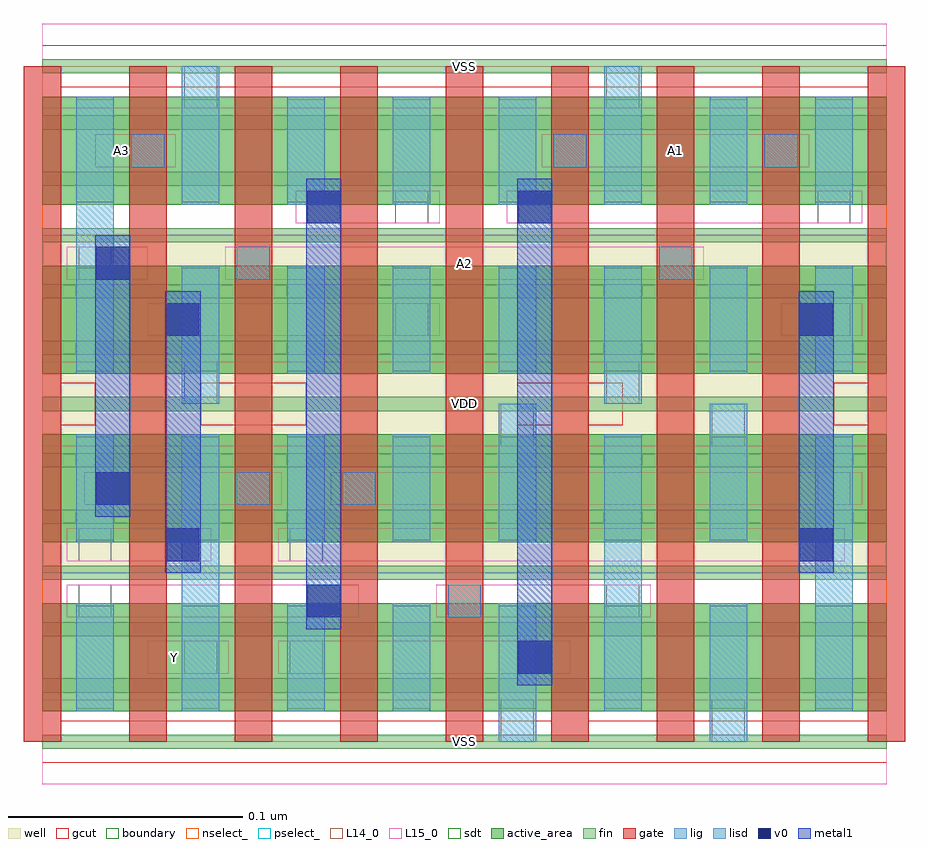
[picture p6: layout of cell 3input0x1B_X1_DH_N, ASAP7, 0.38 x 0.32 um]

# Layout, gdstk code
import gdstk
lib = gdstk.Library(unit=1e-6, precision=2.5e-10)
def R(c, l, rs):  # rectangles x0, y0, x1, y1
    for r in rs: c.add(gdstk.rectangle(r[:2], r[2:], *l))
def A(c, l, x, y, w, h, nx, ny, dx, dy):  # array of equal rectangles
    R(c, l, [(x+i*dx, y+j*dy, x+i*dx+w, y+j*dy+h) for i in range(nx) for j in range(ny)])
def P(c, l, *ps):  # polygons
    for p in ps: c.add(gdstk.Polygon(p, *l))
well = (1, 0)
fin = (2, 0)
gate = (7, 0)
gcut = (10, 0)
active_area = (11, 0)
nselect_ = (12, 0)
pselect_ = (13, 0)
L14_0 = (14, 0)
L15_0 = (15, 0)
lig = (16, 0)
lisd = (17, 0)
v0 = (18, 0)
metal1 = (19, 0)
sdt = (88, 0)
boundary = (100, 0)

c_3input0x1b_x1_dh_n = lib.new_cell('3input0x1B_X1_DH_N')
R(c_3input0x1b_x1_dh_n, well, [(0,0.072,0.36,0.144), (0,0.144,0.36,0.216)])
A(c_3input0x1b_x1_dh_n, fin, 0, -0.003, 0.36, 0.006, 1, 13, 0, 0.024)
A(c_3input0x1b_x1_dh_n, gate, -0.008, 0, 0.016, 0.288, 9, 1, 0.045, 0)
R(c_3input0x1b_x1_dh_n, gcut, [(0.0675,0.135,0.1125,0.153)])
P(c_3input0x1b_x1_dh_n, gcut, [(0,-0.009),(0,0),(-0.008,0),(-0.008,0.279),(0.008,0.279),(0.008,0.153),(0.0225,0.153),(0.0225,0.135),(0.008,0.135),(0.008,0.009),(0.217,0.009),(0.217,0.135),(0.2025,0.135),(0.2025,0.153),(0.2475,0.153),(0.2475,0.135),(0.233,0.135),(0.233,0.009),(0.352,0.009),(0.352,0.135),(0.3375,0.135),(0.3375,0.153),(0.352,0.153),(0.352,0.279),(-0.008,0.279),(-0.008,0.288),(0,0.288),(0,0.297),(0.36,0.297),(0.36,0.288),(0.368,0.288),(0.368,0),(0.36,0),(0.36,-0.009)])
A(c_3input0x1b_x1_dh_n, active_area, 0, 0.013, 0.36, 0.046, 1, 4, 0, 0.072)
R(c_3input0x1b_x1_dh_n, nselect_, [(0,0,0.36,0.072), (0,0.216,0.36,0.288)])
R(c_3input0x1b_x1_dh_n, pselect_, [(0,0.072,0.36,0.144), (0,0.144,0.36,0.216)])
R(c_3input0x1b_x1_dh_n, L14_0, [(0.1955,0,0.2095,0.018), (0.2855,0,0.2995,0.018), (0.0605,0.029,0.0745,0.043), (0.1055,0.029,0.1195,0.043), (0.0155,0.053,0.0295,0.067), (0.173,0.053,0.187,0.067), (0.2405,0.053,0.2545,0.067), (0.0155,0.077,0.0295,0.091), (0.1055,0.077,0.1195,0.091), (0.083,0.101,0.097,0.115), (0.128,0.101,0.142,0.115), (0.3305,0.101,0.3445,0.115), (0.1955,0.126,0.2095,0.144), (0.2855,0.126,0.2995,0.144), (0.0605,0.144,0.0745,0.162), (0.2405,0.144,0.2545,0.162), (0.1505,0.173,0.1645,0.187), (0.3305,0.173,0.3445,0.187), (0.0155,0.197,0.0295,0.211), (0.083,0.197,0.097,0.211), (0.263,0.197,0.277,0.211), (0.1505,0.221,0.1645,0.235), (0.3305,0.221,0.3445,0.235), (0.038,0.245,0.052,0.259), (0.218,0.245,0.232,0.259), (0.308,0.245,0.322,0.259), (0.0605,0.27,0.0745,0.288), (0.2405,0.27,0.2545,0.288)])
A(c_3input0x1b_x1_dh_n, L15_0, 0, -0.018, 0.36, 0.036, 1, 3, 0, 0.144)
R(c_3input0x1b_x1_dh_n, L15_0, [(0.045,0.029,0.0795,0.043), (0.1005,0.029,0.225,0.043), (0.0105,0.053,0.135,0.067), (0.168,0.053,0.2595,0.067), (0.0105,0.077,0.072,0.091), (0.1005,0.077,0.342,0.091), (0.018,0.101,0.102,0.115), (0.123,0.101,0.3495,0.115), (0.045,0.173,0.1695,0.187), (0.315,0.173,0.3495,0.187), (0.0105,0.197,0.045,0.211), (0.078,0.197,0.282,0.211), (0.108,0.221,0.1695,0.235), (0.198,0.221,0.3495,0.235), (0.0225,0.245,0.057,0.259), (0.213,0.245,0.327,0.259)])
R(c_3input0x1b_x1_dh_n, lig, [(0.173,0.053,0.187,0.067), (0.083,0.101,0.097,0.115), (0.128,0.101,0.142,0.115), (0.083,0.197,0.097,0.211), (0.263,0.197,0.277,0.211), (0.038,0.245,0.052,0.259), (0.218,0.245,0.232,0.259), (0.308,0.245,0.322,0.259)])
A(c_3input0x1b_x1_dh_n, lisd, 0.1045, 0.157, 0.016, 0.046, 3, 2, 0.045, 0.072)
R(c_3input0x1b_x1_dh_n, lisd, [(0.1945,0,0.2105,0.059), (0.2845,0,0.3005,0.059), (0.0145,0.013,0.0305,0.059), (0.0595,0.013,0.0755,0.131), (0.1045,0.013,0.1205,0.059), (0.1495,0.013,0.1655,0.059), (0.2395,0.013,0.2555,0.131), (0.3295,0.013,0.3455,0.131), (0.0145,0.085,0.0305,0.131), (0.1045,0.085,0.1205,0.131), (0.1495,0.085,0.1655,0.131), (0.1945,0.085,0.2105,0.144), (0.2845,0.085,0.3005,0.144), (0.0595,0.144,0.0755,0.203), (0.2395,0.144,0.2555,0.203), (0.0145,0.157,0.0305,0.275), (0.2845,0.157,0.3005,0.203), (0.3295,0.157,0.3455,0.203), (0.0595,0.229,0.0755,0.288), (0.2395,0.229,0.2555,0.288), (0.2845,0.229,0.3005,0.275), (0.3295,0.229,0.3455,0.275)])
R(c_3input0x1b_x1_dh_n, v0, [(0.203,0.029,0.217,0.043), (0.113,0.053,0.127,0.067), (0.053,0.077,0.067,0.091), (0.323,0.077,0.337,0.091), (0.023,0.101,0.037,0.115), (0.053,0.173,0.067,0.187), (0.323,0.173,0.337,0.187), (0.023,0.197,0.037,0.211), (0.113,0.221,0.127,0.235), (0.203,0.221,0.217,0.235)])
R(c_3input0x1b_x1_dh_n, metal1, [(0.2025,0.024,0.2175,0.24), (0.1125,0.048,0.1275,0.24), (0.0525,0.072,0.0675,0.192), (0.3225,0.072,0.3375,0.192), (0.0225,0.096,0.0375,0.216)])
A(c_3input0x1b_x1_dh_n, sdt, 0.0145, 0.014, 0.016, 0.044, 8, 4, 0.045, 0.072)
R(c_3input0x1b_x1_dh_n, boundary, [(0,0,0.36,0.288)])
c_3input0x1b_x1_dh_n.add(gdstk.Label('A1', (0.27,0.252), layer=15, texttype=251))
c_3input0x1b_x1_dh_n.add(gdstk.Label('VSS', (0.18,0), layer=15, texttype=251))
c_3input0x1b_x1_dh_n.add(gdstk.Label('VDD', (0.18,0.144), layer=15, texttype=251))
c_3input0x1b_x1_dh_n.add(gdstk.Label('VDD', (0.18,0.144), layer=15, texttype=251))
c_3input0x1b_x1_dh_n.add(gdstk.Label('VSS', (0.18,0.288), layer=15, texttype=251))
c_3input0x1b_x1_dh_n.add(gdstk.Label('A3', (0.0338,0.252), layer=15, texttype=251))
c_3input0x1b_x1_dh_n.add(gdstk.Label('VSS', (0.18,0), layer=15, texttype=251))
c_3input0x1b_x1_dh_n.add(gdstk.Label('VDD', (0.18,0.144), layer=15, texttype=251))
c_3input0x1b_x1_dh_n.add(gdstk.Label('VDD', (0.18,0.144), layer=15, texttype=251))
c_3input0x1b_x1_dh_n.add(gdstk.Label('VSS', (0.18,0.288), layer=15, texttype=251))
c_3input0x1b_x1_dh_n.add(gdstk.Label('Y', (0.0563,0.036), layer=15, texttype=251))
c_3input0x1b_x1_dh_n.add(gdstk.Label('VSS', (0.18,0), layer=15, texttype=251))
c_3input0x1b_x1_dh_n.add(gdstk.Label('VDD', (0.18,0.144), layer=15, texttype=251))
c_3input0x1b_x1_dh_n.add(gdstk.Label('VDD', (0.18,0.144), layer=15, texttype=251))
c_3input0x1b_x1_dh_n.add(gdstk.Label('VSS', (0.18,0.288), layer=15, texttype=251))
c_3input0x1b_x1_dh_n.add(gdstk.Label('A2', (0.18,0.204), layer=15, texttype=251))
c_3input0x1b_x1_dh_n.add(gdstk.Label('VSS', (0.18,0), layer=15, texttype=251))
c_3input0x1b_x1_dh_n.add(gdstk.Label('VDD', (0.18,0.144), layer=15, texttype=251))
c_3input0x1b_x1_dh_n.add(gdstk.Label('VDD', (0.18,0.144), layer=15, texttype=251))
c_3input0x1b_x1_dh_n.add(gdstk.Label('VSS', (0.18,0.288), layer=15, texttype=251))
c_3input0x1b_x1_dh_n.add(gdstk.Label('VSS', (0.18,0), layer=3, texttype=251))
c_3input0x1b_x1_dh_n.add(gdstk.Label('VSS', (0.18,0.288), layer=3, texttype=251))
c_3input0x1b_x1_dh_n.add(gdstk.Label('VSS', (0.18,0), layer=3, texttype=251))
c_3input0x1b_x1_dh_n.add(gdstk.Label('VSS', (0.18,0.288), layer=3, texttype=251))
c_3input0x1b_x1_dh_n.add(gdstk.Label('VSS', (0.18,0), layer=3, texttype=251))
c_3input0x1b_x1_dh_n.add(gdstk.Label('VSS', (0.18,0.288), layer=3, texttype=251))
c_3input0x1b_x1_dh_n.add(gdstk.Label('VSS', (0.18,0), layer=3, texttype=251))
c_3input0x1b_x1_dh_n.add(gdstk.Label('VSS', (0.18,0.288), layer=3, texttype=251))
c_3input0x1b_x1_dh_n.add(gdstk.Label('VDD', (0.18,0.144), layer=1, texttype=251))
c_3input0x1b_x1_dh_n.add(gdstk.Label('VDD', (0.18,0.144), layer=1, texttype=251))
c_3input0x1b_x1_dh_n.add(gdstk.Label('VDD', (0.18,0.144), layer=1, texttype=251))
c_3input0x1b_x1_dh_n.add(gdstk.Label('VDD', (0.18,0.144), layer=1, texttype=251))
c_3input0x1b_x1_dh_n.add(gdstk.Label('VDD', (0.18,0.144), layer=1, texttype=251))
c_3input0x1b_x1_dh_n.add(gdstk.Label('VDD', (0.18,0.144), layer=1, texttype=251))
c_3input0x1b_x1_dh_n.add(gdstk.Label('VDD', (0.18,0.144), layer=1, texttype=251))
c_3input0x1b_x1_dh_n.add(gdstk.Label('VDD', (0.18,0.144), layer=1, texttype=251))

lib.write_gds('3input0x1B_X1_DH_N.gds')
